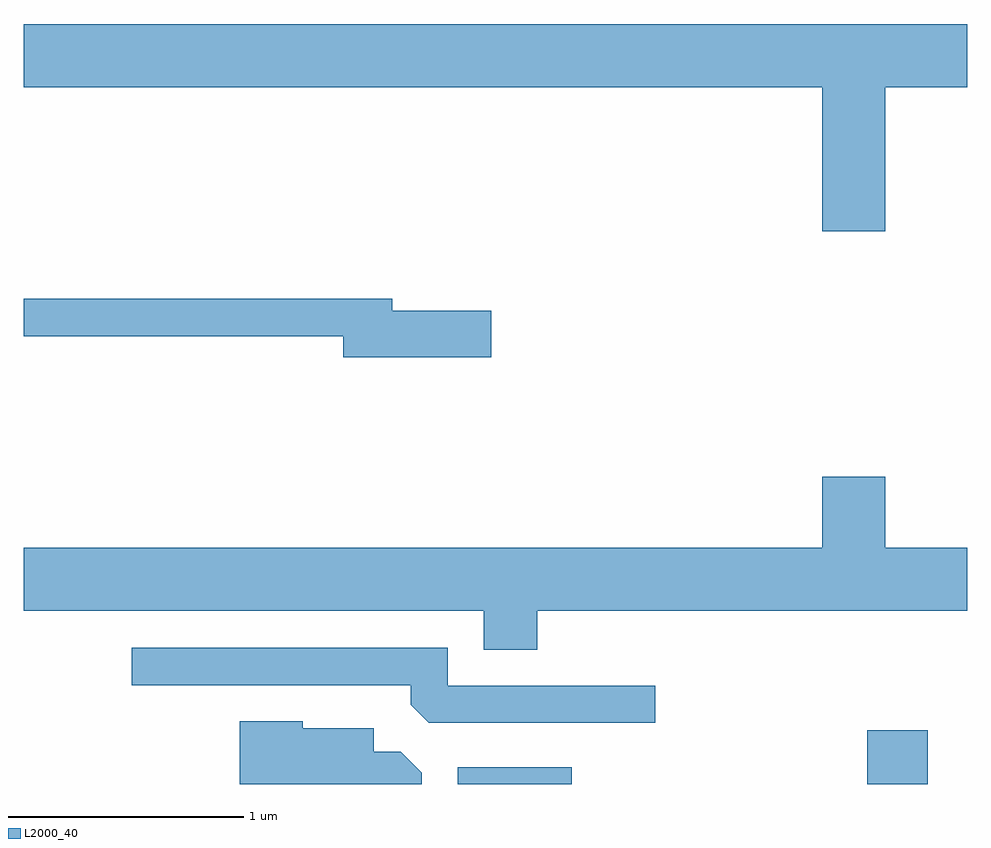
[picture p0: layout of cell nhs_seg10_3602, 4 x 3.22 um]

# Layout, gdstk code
import gdstk
lib = gdstk.Library(unit=1e-6, precision=1e-09)
def R(c, l, rs):  # rectangles x0, y0, x1, y1
    for r in rs: c.add(gdstk.rectangle(r[:2], r[2:], *l))
def P(c, l, *ps):  # polygons
    for p in ps: c.add(gdstk.Polygon(p, *l))
L2000_40 = (2000, 40)

nhs_seg10_3602 = lib.new_cell('nhs_seg10_3602')
R(nhs_seg10_3602, L2000_40, [(293.451,2106.522,293.934,2106.594), (295.186,2106.522,295.444,2106.749)])
P(nhs_seg10_3602, L2000_40, [(295.264,2109.476),(295.611,2109.476),(295.611,2109.744),(291.611,2109.744),(291.611,2109.476),(294.996,2109.476),(294.996,2108.866),(295.264,2108.866)],
  [(293.594,2108.529),(293.174,2108.529),(293.174,2108.579),(291.611,2108.579),(291.611,2108.421),(292.966,2108.421),(292.966,2108.331),(293.594,2108.331)],
  [(293.789,2107.256),(295.611,2107.256),(295.611,2107.524),(295.264,2107.524),(295.264,2107.824),(294.996,2107.824),(294.996,2107.524),(291.611,2107.524),(291.611,2107.256),(293.561,2107.256),(293.561,2107.091),(293.789,2107.091)],
  [(294.288,2106.939),(293.409,2106.939),(293.409,2107.099),(292.068,2107.099),(292.068,2106.941),(293.251,2106.941),(293.251,2106.857),(293.327,2106.781),(294.288,2106.781)],
  [(293.299,2106.569),(293.209,2106.659),(293.094,2106.659),(293.094,2106.759),(292.794,2106.759),(292.794,2106.789),(292.526,2106.789),(292.526,2106.522),(293.299,2106.522)])

lib.write_gds('nhs_seg10_3602.gds')
